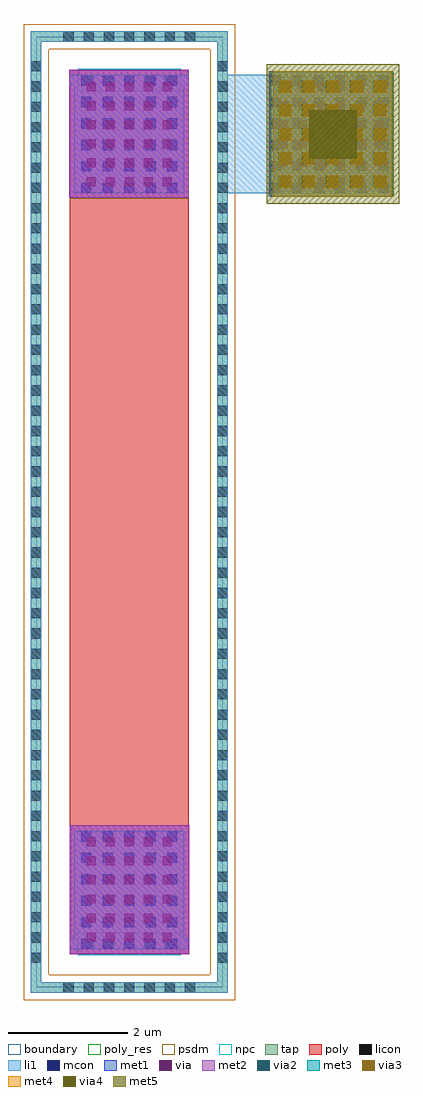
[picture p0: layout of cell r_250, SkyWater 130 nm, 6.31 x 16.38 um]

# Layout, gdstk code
import gdstk
lib = gdstk.Library(unit=1e-6, precision=1e-09)
def R(c, l, rs):  # rectangles x0, y0, x1, y1
    for r in rs: c.add(gdstk.rectangle(r[:2], r[2:], *l))
def A(c, l, x, y, w, h, nx, ny, dx, dy):  # array of equal rectangles
    R(c, l, [(x+i*dx, y+j*dy, x+i*dx+w, y+j*dy+h) for i in range(nx) for j in range(ny)])
tap = (65, 44)
poly_res = (66, 13)
poly = (66, 20)
licon = (66, 44)
li1 = (67, 20)
mcon = (67, 44)
met1 = (68, 20)
via = (68, 44)
met2 = (69, 20)
via2 = (69, 44)
met3 = (70, 20)
via3 = (70, 44)
met4 = (71, 20)
via4 = (71, 44)
met5 = (72, 20)
psdm = (94, 20)
npc = (95, 20)
boundary = (235, 4)

sky130_fd_pr__res_generi = lib.new_cell('sky130_fd_pr__res_generic_po_PL36XQ')
R(sky130_fd_pr__res_generi, tap, [(-1.65,-8.065,1.65,-7.895), (-1.65,-7.895,-1.48,7.895), (1.48,-7.895,1.65,7.895), (-1.65,7.895,1.65,8.065)])
R(sky130_fd_pr__res_generi, poly_res, [(-1,-5.265,1,5.265)])
R(sky130_fd_pr__res_generi, poly, [(-1,-7.415,1,7.415)])
A(sky130_fd_pr__res_generi, licon, -1.105, -8.065, 0.17, 0.17, 7, 2, 0.34, 15.96)
A(sky130_fd_pr__res_generi, licon, -1.65, -7.565, 0.17, 0.17, 1, 45, 0, 0.34)
A(sky130_fd_pr__res_generi, licon, 1.48, -7.565, 0.17, 0.17, 1, 45, 0, 0.34)
A(sky130_fd_pr__res_generi, licon, -0.765, -7.335, 0.17, 0.17, 5, 2, 0.34, 14.5)
R(sky130_fd_pr__res_generi, li1, [(-1.65,-8.065,1.65,-7.895), (-1.65,-7.895,-1.48,7.895), (1.48,-7.895,1.65,7.895), (-1,-7.335,1,-7.165), (-0.92,-7.165,0.92,-5.35), (-0.92,5.35,0.92,7.165), (-1,7.165,1,7.335), (-1.65,7.895,1.65,8.065)])
A(sky130_fd_pr__res_generi, mcon, -0.805, -7.33, 0.17, 0.17, 5, 6, 0.36, 0.36)
A(sky130_fd_pr__res_generi, mcon, -0.805, 5.355, 0.17, 0.17, 5, 6, 0.36, 0.36)
R(sky130_fd_pr__res_generi, met1, [(-0.95,-7.395,0.95,-5.29), (-0.95,5.29,0.95,7.395)])
R(sky130_fd_pr__res_generi, psdm, [(-1.775,-8.19,1.775,-7.77), (-1.775,-7.77,-1.355,7.77), (1.355,-7.77,1.775,7.77), (-1.775,7.77,1.775,8.19)])
R(sky130_fd_pr__res_generi, npc, [(-0.865,-7.435,0.865,-7.065), (-0.865,7.065,0.865,7.435)])
R(sky130_fd_pr__res_generi, boundary, [(-1.565,-7.98,1.565,7.98)])

r_250 = lib.new_cell('r_250')
R(r_250, li1, [(3.14,13.33,5.92,15.315)])
A(r_250, mcon, 3.94, 13.335, 0.17, 0.17, 6, 6, 0.36, 0.36)
R(r_250, met1, [(0.57,0.56,2.57,2.72), (0.56,13.25,2.56,15.4), (3.905,13.27,5.95,13.3), (3.905,13.3,5.98,15.345), (3.905,15.345,5.95,15.375)])
A(r_250, via, 0.85, 0.77, 0.15, 0.15, 5, 6, 0.32, 0.32)
A(r_250, via, 0.85, 13.445, 0.15, 0.15, 5, 6, 0.32, 0.32)
A(r_250, via, 4.08, 13.445, 0.15, 0.15, 6, 6, 0.32, 0.32)
R(r_250, met2, [(0.57,0.56,2.57,2.72), (0.56,13.25,2.56,15.4), (3.965,13.27,5.95,13.3), (3.92,13.3,5.995,15.345), (3.965,15.345,5.95,15.375)])
A(r_250, via2, 4.055, 13.42, 0.2, 0.2, 5, 5, 0.4, 0.4)
R(r_250, met3, [(3.94,13.275,6.005,15.37)])
A(r_250, via3, 4.08, 13.42, 0.2, 0.2, 5, 5, 0.4, 0.4)
R(r_250, met4, [(3.985,13.27,5.98,15.375)])
R(r_250, via4, [(4.585,13.92,5.385,14.72)])
R(r_250, met5, [(3.875,13.15,6.1,15.495)])
r_250.add(gdstk.Reference(sky130_fd_pr__res_generi, (1.565,7.98)))

lib.write_gds('r_250.gds')
